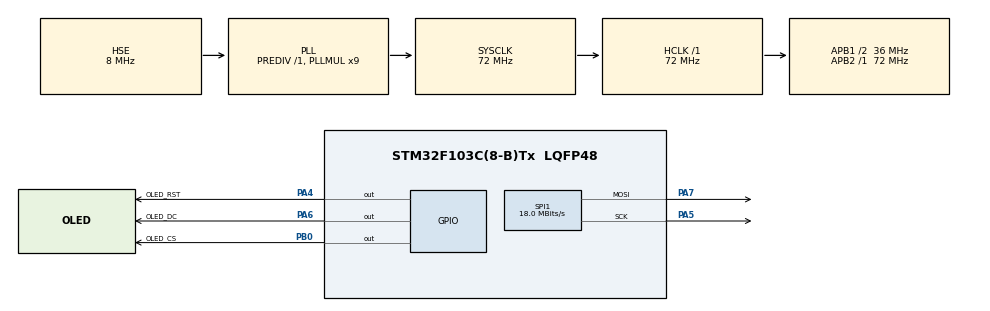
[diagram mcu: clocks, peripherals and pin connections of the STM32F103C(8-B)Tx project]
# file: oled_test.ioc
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Mcu.Family=STM32F1
Mcu.Name=STM32F103C(8-B)Tx
Mcu.Package=LQFP48
NVIC.PriorityGroup=NVIC_PRIORITYGROUP_4
PA13.Mode=Serial_Wire
PA13.Signal=SYS_JTMS-SWDIO
PA14.Mode=Serial_Wire
PA14.Signal=SYS_JTCK-SWCLK
PA4.GPIO_Label=OLED_RST
PA4.GPIO_PuPd=GPIO_PULLUP
PA4.GPIO_Speed=GPIO_SPEED_FREQ_HIGH
PA4.PinState=GPIO_PIN_SET
PA4.Signal=GPIO_Output
PA5.Mode=TX_Only_Simplex_Unidirect_Master
PA5.Signal=SPI1_SCK
PA6.GPIO_Label=OLED_DC
PA6.GPIO_PuPd=GPIO_PULLUP
PA6.GPIO_Speed=GPIO_SPEED_FREQ_HIGH
PA6.PinState=GPIO_PIN_SET
PA6.Signal=GPIO_Output
PA7.Mode=TX_Only_Simplex_Unidirect_Master
PA7.Signal=SPI1_MOSI
PB0.GPIO_Label=OLED_CS
PB0.GPIO_PuPd=GPIO_PULLUP
PB0.GPIO_Speed=GPIO_SPEED_FREQ_HIGH
PB0.PinState=GPIO_PIN_SET
PB0.Signal=GPIO_Output
PD0-OSC_IN.Mode=HSE-External-Oscillator
PD0-OSC_IN.Signal=RCC_OSC_IN
PD1-OSC_OUT.Mode=HSE-External-Oscillator
PD1-OSC_OUT.Signal=RCC_OSC_OUT
ProjectManager.HeapSize=0x200
ProjectManager.StackSize=0x400
ProjectManager.TargetToolchain=STM32CubeIDE
RCC.AHBFreq_Value=72000000
RCC.APB1CLKDivider=RCC_HCLK_DIV2
RCC.APB1Freq_Value=36000000
RCC.APB1TimFreq_Value=72000000
RCC.APB2Freq_Value=72000000
RCC.APB2TimFreq_Value=72000000
RCC.HCLKFreq_Value=72000000
RCC.PLLMUL=RCC_PLL_MUL9
RCC.PLLSourceVirtual=RCC_PLLSOURCE_HSE
RCC.SYSCLKFreq_VALUE=72000000
RCC.SYSCLKSource=RCC_SYSCLKSOURCE_PLLCLK
RCC.USBFreq_Value=72000000
SPI1.BaudRatePrescaler=SPI_BAUDRATEPRESCALER_4
SPI1.CalculateBaudRate=18.0 MBits/s
SPI1.Direction=SPI_DIRECTION_2LINES
SPI1.Mode=SPI_MODE_MASTER
SPI1.VirtualType=VM_MASTER
board=custom

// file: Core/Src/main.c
/* USER CODE BEGIN Header */
/**
 ******************************************************************************
 * @file           : main.c
 * @brief          : Main program body
 ******************************************************************************
 * @attention
 *
 * Copyright (c) 2023 STMicroelectronics.
 * All rights reserved.
 *
 * This software is licensed under terms that can be found in the LICENSE file
 * in the root directory of this software component.
 * If no LICENSE file comes with this software, it is provided AS-IS.
 *
 ******************************************************************************
 */
/* USER CODE END Header */
#include "main.h"

/* USER CODE BEGIN Includes */
#include "stdio.h"
#include "stdlib.h"
#include "string.h"
#include "u8g2.h"

/* USER CODE END Includes */

/* USER CODE BEGIN PM */
#define OLED
/* USER CODE END PM */

SPI_HandleTypeDef hspi1;

void SystemClock_Config(void);
static void MX_GPIO_Init(void);
static void MX_SPI1_Init(void);

/* USER CODE BEGIN 0 */
extern uint8_t u8x8_stm32_gpio_and_delay(u8x8_t *u8x8, uint8_t msg,
		uint8_t arg_int, void *arg_ptr);
extern uint8_t u8x8_byte_stm32_hw_spi(u8x8_t *u8x8, uint8_t msg,
		uint8_t arg_int, void *arg_ptr);

static u8g2_t u8g2;
/* USER CODE END 0 */

int main(void)
{
  /* USER CODE BEGIN 1 */
	char str[32];
	char str2[32];
	char str3[32];

  /* USER CODE END 1 */

  /* MCU Configuration--------------------------------------------------------*/

  /* Reset of all peripherals, Initializes the Flash interface and the Systick. */
  HAL_Init();

  /* Configure the system clock */
  SystemClock_Config();

  /* Initialize all configured peripherals */
  MX_GPIO_Init();
  MX_SPI1_Init();
  /* USER CODE BEGIN 2 */

	u8g2_Setup_ssd1306_128x64_noname_f(&u8g2, U8G2_R0, u8x8_byte_stm32_hw_spi,
			u8x8_stm32_gpio_and_delay);

	u8g2_InitDisplay(&u8g2);
	u8g2_SetPowerSave(&u8g2, 0);

	u8g2_SetFont(&u8g2, u8g2_font_5x7_tr);
	u8g2_SetDisplayRotation(&u8g2, U8G2_R2);

  /* USER CODE END 2 */

  /* Infinite loop */
  /* USER CODE BEGIN WHILE */
	sprintf(str, "Hello :)");
	u8g2_FirstPage(&u8g2);
	while (1) {

			do {
				u8g2_DrawStrX2(&u8g2, 5, 30, str);
		} while (u8g2_NextPage(&u8g2));

    /* USER CODE END WHILE */

	}
}

void SystemClock_Config(void)
{
  RCC_OscInitTypeDef RCC_OscInitStruct = {0};
  RCC_ClkInitTypeDef RCC_ClkInitStruct = {0};

  /** Initializes the RCC Oscillators according to the specified parameters
  * in the RCC_OscInitTypeDef structure.
  */
  RCC_OscInitStruct.OscillatorType = RCC_OSCILLATORTYPE_HSE;
  RCC_OscInitStruct.HSEState = RCC_HSE_ON;
  RCC_OscInitStruct.HSEPredivValue = RCC_HSE_PREDIV_DIV1;
  RCC_OscInitStruct.HSIState = RCC_HSI_ON;
  RCC_OscInitStruct.PLL.PLLState = RCC_PLL_ON;
  RCC_OscInitStruct.PLL.PLLSource = RCC_PLLSOURCE_HSE;
  RCC_OscInitStruct.PLL.PLLMUL = RCC_PLL_MUL9;
  if (HAL_RCC_OscConfig(&RCC_OscInitStruct) != HAL_OK)
  {
    Error_Handler();
  }

  /** Initializes the CPU, AHB and APB buses clocks
  */
  RCC_ClkInitStruct.ClockType = RCC_CLOCKTYPE_HCLK|RCC_CLOCKTYPE_SYSCLK
                              |RCC_CLOCKTYPE_PCLK1|RCC_CLOCKTYPE_PCLK2;
  RCC_ClkInitStruct.SYSCLKSource = RCC_SYSCLKSOURCE_PLLCLK;
  RCC_ClkInitStruct.AHBCLKDivider = RCC_SYSCLK_DIV1;
  RCC_ClkInitStruct.APB1CLKDivider = RCC_HCLK_DIV2;
  RCC_ClkInitStruct.APB2CLKDivider = RCC_HCLK_DIV1;

  if (HAL_RCC_ClockConfig(&RCC_ClkInitStruct, FLASH_LATENCY_2) != HAL_OK)
  {
    Error_Handler();
  }
}

static void MX_SPI1_Init(void)
{

  /* SPI1 parameter configuration*/
  hspi1.Instance = SPI1;
  hspi1.Init.Mode = SPI_MODE_MASTER;
  hspi1.Init.Direction = SPI_DIRECTION_2LINES;
  hspi1.Init.DataSize = SPI_DATASIZE_8BIT;
  hspi1.Init.CLKPolarity = SPI_POLARITY_LOW;
  hspi1.Init.CLKPhase = SPI_PHASE_1EDGE;
  hspi1.Init.NSS = SPI_NSS_SOFT;
  hspi1.Init.BaudRatePrescaler = SPI_BAUDRATEPRESCALER_4;
  hspi1.Init.FirstBit = SPI_FIRSTBIT_MSB;
  hspi1.Init.TIMode = SPI_TIMODE_DISABLE;
  hspi1.Init.CRCCalculation = SPI_CRCCALCULATION_DISABLE;
  hspi1.Init.CRCPolynomial = 10;
  if (HAL_SPI_Init(&hspi1) != HAL_OK)
  {
    Error_Handler();
  }

}

static void MX_GPIO_Init(void)
{
  GPIO_InitTypeDef GPIO_InitStruct = {0};

  /* GPIO Ports Clock Enable */
  __HAL_RCC_GPIOD_CLK_ENABLE();
  __HAL_RCC_GPIOA_CLK_ENABLE();
  __HAL_RCC_GPIOB_CLK_ENABLE();

  /*Configure GPIO pin Output Level */
  HAL_GPIO_WritePin(GPIOA, OLED_RST_Pin|OLED_DC_Pin, GPIO_PIN_SET);

  /*Configure GPIO pin Output Level */
  HAL_GPIO_WritePin(OLED_CS_GPIO_Port, OLED_CS_Pin, GPIO_PIN_SET);

  /*Configure GPIO pins : OLED_RST_Pin OLED_DC_Pin */
  GPIO_InitStruct.Pin = OLED_RST_Pin|OLED_DC_Pin;
  GPIO_InitStruct.Mode = GPIO_MODE_OUTPUT_PP;
  GPIO_InitStruct.Pull = GPIO_PULLUP;
  GPIO_InitStruct.Speed = GPIO_SPEED_FREQ_HIGH;
  HAL_GPIO_Init(GPIOA, &GPIO_InitStruct);

  /*Configure GPIO pin : OLED_CS_Pin */
  GPIO_InitStruct.Pin = OLED_CS_Pin;
  GPIO_InitStruct.Mode = GPIO_MODE_OUTPUT_PP;
  GPIO_InitStruct.Pull = GPIO_PULLUP;
  GPIO_InitStruct.Speed = GPIO_SPEED_FREQ_HIGH;
  HAL_GPIO_Init(OLED_CS_GPIO_Port, &GPIO_InitStruct);

}

void Error_Handler(void)
{
	__disable_irq();
	while (1) {
	}
}
